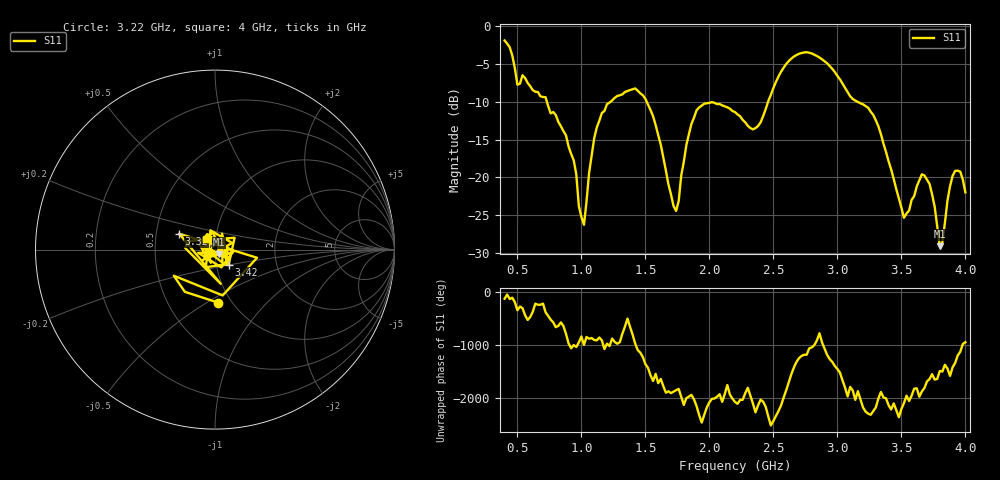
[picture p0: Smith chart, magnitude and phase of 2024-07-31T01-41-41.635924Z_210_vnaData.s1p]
!Created with skrf (http://scikit-rf.org).
# Hz S RI R 50.0
!freq ReS11 ImS11
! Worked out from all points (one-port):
!   181 points, 400 MHz to 4 GHz, reference 50 ohm
!   lowest |S11| = -29.1 dB at 3.8 GHz (marker M1), VSWR 1.07, Z = 52.4 - j2.71 ohm
!   |S11| at or under -10 dB: 730.4 MHz to 1.228 GHz (497.1 MHz wide, 50.8 % of centre); 1.51 GHz to 2.458 GHz (947.9 MHz wide, 47.8 % of centre); 3.157 GHz to end of sweep
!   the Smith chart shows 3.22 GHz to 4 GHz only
!   S11 on the Smith chart (normalised r, x): 3.22 GHz: 0.87, -0.56; 3.32 GHz: 0.66, +0.12; 3.42 GHz: 1.15, -0.19; 4 GHz: 0.89, +0.11
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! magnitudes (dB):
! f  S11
! 400 MHz  -1.9
! 500 MHz  -7.7
! 720 MHz  -9.4
! 860 MHz  -13.9
! 940 MHz  -17.7
! 1.02 GHz  -26.3
! 1.12 GHz  -13.4
! 1.3 GHz  -9.1
! 1.5 GHz  -9.6
! 1.72 GHz  -23.8
! 1.76 GHz  -23.1
! 1.82 GHz  -15.7
! 1.9 GHz  -11.1
! 2.2 GHz  -11.4
! 2.38 GHz  -13.2
! 2.66 GHz  -4.0
! 2.88 GHz  -4.4
! 3.1 GHz  -9.3
! 3.22 GHz  -10.6
! 3.32 GHz  -13.2
! 3.42 GHz  -18.9
! 3.52 GHz  -25.3
! 3.56 GHz  -24.4
! 3.68 GHz  -19.7
! 3.74 GHz  -22.3
! 3.8 GHz  -29.1
! 3.9 GHz  -19.8
! 4 GHz  -22.0
